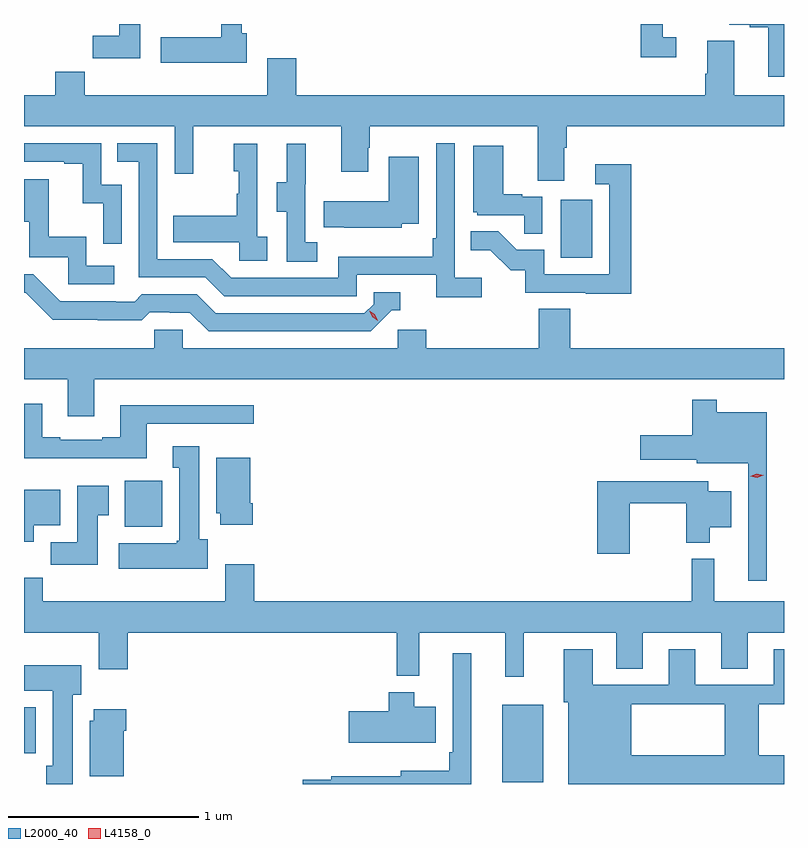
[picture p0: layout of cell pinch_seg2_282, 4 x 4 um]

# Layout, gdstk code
import gdstk
lib = gdstk.Library(unit=1e-6, precision=1e-09)
def R(c, l, rs):  # rectangles x0, y0, x1, y1
    for r in rs: c.add(gdstk.rectangle(r[:2], r[2:], *l))
def P(c, l, *ps):  # polygons
    for p in ps: c.add(gdstk.Polygon(p, *l))
L2000_40 = (2000, 40)
L4158_0 = (4158, 0)

pinch_seg2_282 = lib.new_cell('pinch_seg2_282')
R(pinch_seg2_282, L2000_40, [(900.317,640.187,900.532,640.597), (897.8,640.34,897.862,640.582), (898.331,641.534,898.528,641.776), (900.626,642.948,900.79,643.255)])
P(pinch_seg2_282, L2000_40, [(898.411,644.179),(898.301,644.179),(898.301,644.116),(898.162,644.116),(898.162,643.998),(898.411,643.998)],
  [(898.972,644.13),(898.945,644.13),(898.945,644.179),(898.838,644.179),(898.838,644.11),(898.521,644.11),(898.521,643.976),(898.972,643.976)],
  [(901.8,644.179),(901.512,644.179),(901.512,644.175),(901.619,644.175),(901.619,644.163),(901.718,644.163),(901.718,643.902),(901.8,643.902)],
  [(901.234,644.109),(901.161,644.109),(901.161,644.179),(901.045,644.179),(901.045,644.004),(901.234,644.004)],
  [(900.643,643.528),(900.656,643.528),(900.656,643.64),(901.8,643.64),(901.8,643.804),(901.537,643.804),(901.537,644.09),(901.397,644.09),(901.397,643.916),(901.385,643.916),(901.385,643.804),(899.234,643.804),(899.234,643.999),(899.081,643.999),(899.081,643.804),(898.121,643.804),(898.121,643.928),(897.965,643.928),(897.965,643.804),(897.8,643.804),(897.8,643.64),(898.593,643.64),(898.593,643.392),(898.691,643.392),(898.691,643.64),(899.471,643.64),(899.471,643.401),(899.611,643.401),(899.611,643.529),(899.619,643.529),(899.619,643.64),(900.503,643.64),(900.503,643.354),(900.643,643.354)],
  [(900.208,642.844),(900.066,642.844),(900.066,643.552),(899.97,643.552),(899.97,643.051),(899.95,643.051),(899.95,642.955),(899.454,642.955),(899.454,642.843),(898.89,642.843),(898.791,642.942),(898.5,642.942),(898.5,643.551),(898.291,643.551),(898.291,643.455),(898.404,643.455),(898.404,642.846),(898.754,642.846),(898.853,642.747),(899.55,642.747),(899.55,642.858),(899.969,642.858),(899.969,642.742),(900.208,642.742)],
  [(898.314,643.332),(898.206,643.332),(898.206,643.551),(897.8,643.551),(897.8,643.455),(898.013,643.455),(898.013,643.443),(898.109,643.443),(898.109,643.235),(898.218,643.235),(898.218,643.023),(898.314,643.023)],
  [(899.08,643.058),(899.028,643.058),(899.028,643.549),(898.904,643.549),(898.904,643.404),(898.93,643.404),(898.93,643.286),(898.92,643.286),(898.92,643.171),(898.585,643.171),(898.585,643.031),(898.932,643.031),(898.932,642.933),(899.08,642.933)],
  [(899.344,643.031),(899.28,643.031),(899.28,643.335),(899.282,643.335),(899.282,643.549),(899.183,643.549),(899.183,643.347),(899.129,643.347),(899.129,643.192),(899.184,643.192),(899.184,642.928),(899.344,642.928)],
  [(900.528,643.269),(900.422,643.269),(900.422,643.282),(900.322,643.282),(900.322,643.537),(900.164,643.537),(900.164,643.188),(900.186,643.188),(900.186,643.173),(900.433,643.173),(900.433,643.075),(900.528,643.075)],
  [(899.787,643.127),(899.878,643.127),(899.878,643.48),(899.72,643.48),(899.72,643.246),(899.377,643.246),(899.377,643.109),(899.485,643.109),(899.485,643.106),(899.787,643.106)],
  [(900.995,643.441),(900.807,643.441),(900.807,643.335),(900.879,643.335),(900.879,642.861),(900.537,642.861),(900.537,642.99),(900.393,642.99),(900.295,643.088),(900.151,643.088),(900.151,642.989),(900.255,642.989),(900.362,642.882),(900.439,642.882),(900.439,642.765),(900.757,642.765),(900.757,642.76),(900.995,642.76)],
  [(898.276,642.906),(898.128,642.906),(898.128,643.06),(897.929,643.06),(897.929,643.363),(897.8,643.363),(897.8,643.137),(897.827,643.137),(897.827,642.951),(898.032,642.951),(898.032,642.81),(898.276,642.81)],
  [(899.736,642.672),(899.779,642.672),(899.779,642.768),(899.64,642.768),(899.64,642.705),(899.592,642.657),(898.809,642.657),(898.71,642.756),(898.421,642.756),(898.382,642.717),(898.283,642.717),(898.283,642.72),(897.99,642.72),(897.849,642.861),(897.8,642.861),(897.8,642.765),(897.81,642.765),(897.952,642.623),(898.188,642.623),(898.188,642.621),(898.421,642.621),(898.463,642.663),(898.566,642.663),(898.566,642.66),(898.673,642.66),(898.772,642.561),(899.625,642.561)],
  [(898.171,642.308),(901.8,642.308),(901.8,642.472),(900.674,642.472),(900.674,642.68),(900.509,642.68),(900.509,642.472),(899.918,642.472),(899.918,642.57),(899.766,642.57),(899.766,642.472),(898.635,642.472),(898.635,642.57),(898.485,642.57),(898.485,642.472),(897.8,642.472),(897.8,642.308),(898.031,642.308),(898.031,642.114),(898.171,642.114)],
  [(901.708,642.136),(901.447,642.136),(901.447,642.202),(901.318,642.202),(901.318,642.015),(901.044,642.015),(901.044,641.885),(901.341,641.885),(901.341,641.867),(901.611,641.867),(901.611,641.25),(901.708,641.25)],
  [(898.447,642.075),(899.008,642.075),(899.008,642.172),(898.307,642.172),(898.307,642.004),(898.211,642.004),(898.211,641.991),(897.991,641.991),(897.991,642.004),(897.895,642.004),(897.895,642.181),(897.8,642.181),(897.8,641.894),(898.447,641.894)],
  [(898.768,641.466),(898.723,641.466),(898.723,641.956),(898.583,641.956),(898.583,641.843),(898.616,641.843),(898.616,641.46),(898.603,641.46),(898.603,641.446),(898.299,641.446),(898.299,641.312),(898.768,641.312)],
  [(899.003,641.656),(898.99,641.656),(898.99,641.896),(898.811,641.896),(898.811,641.604),(898.832,641.604),(898.832,641.544),(899.003,641.544)],
  [(900.988,641.656),(901.286,641.656),(901.286,641.45),(901.408,641.45),(901.408,641.531),(901.522,641.531),(901.522,641.719),(901.402,641.719),(901.402,641.772),(900.818,641.772),(900.818,641.391),(900.988,641.391)],
  [(898.189,641.593),(898.246,641.593),(898.246,641.749),(898.079,641.749),(898.079,641.452),(897.94,641.452),(897.94,641.334),(898.189,641.334)],
  [(897.85,641.54),(897.991,641.54),(897.991,641.728),(897.8,641.728),(897.8,641.453),(897.85,641.453)],
  [(900.431,640.976),(900.917,640.976),(900.917,640.786),(901.057,640.786),(901.057,640.976),(901.469,640.976),(901.469,640.786),(901.609,640.786),(901.609,640.976),(901.8,640.976),(901.8,641.14),(901.433,641.14),(901.433,641.365),(901.315,641.365),(901.315,641.14),(899.012,641.14),(899.012,641.335),(898.859,641.335),(898.859,641.14),(897.899,641.14),(897.899,641.264),(897.8,641.264),(897.8,640.976),(898.193,640.976),(898.193,640.782),(898.346,640.782),(898.346,640.976),(899.761,640.976),(899.761,640.748),(899.879,640.748),(899.879,640.976),(900.332,640.976),(900.332,640.743),(900.431,640.743)],
  [(901.8,640.179),(901.8,640.33),(901.667,640.33),(901.667,640.6),(901.8,640.6),(901.8,640.888),(901.745,640.888),(901.745,640.701),(901.333,640.701),(901.333,640.888),(901.193,640.888),(901.193,640.701),(900.793,640.701),(900.793,640.888),(900.641,640.888),(900.641,640.608),(900.665,640.608),(900.665,640.33),(900.997,640.33),(900.997,640.6),(901.489,640.6),(901.489,640.33),(900.997,640.33),(900.665,640.33),(900.665,640.179)],
  [(900.154,640.867),(900.057,640.867),(900.057,640.345),(900.037,640.345),(900.037,640.249),(899.783,640.249),(899.783,640.219),(899.417,640.219),(899.417,640.202),(899.268,640.202),(899.268,640.179),(900.154,640.179)],
  [(898.057,640.65),(898.102,640.65),(898.102,640.804),(897.8,640.804),(897.8,640.67),(897.95,640.67),(897.95,640.274),(897.917,640.274),(897.917,640.179),(898.057,640.179)],
  [(899.968,640.585),(899.854,640.585),(899.854,640.663),(899.72,640.663),(899.72,640.563),(899.508,640.563),(899.508,640.397),(899.968,640.397)],
  [(898.324,640.46),(898.337,640.46),(898.337,640.573),(898.166,640.573),(898.166,640.512),(898.145,640.512),(898.145,640.22),(898.324,640.22)])
P(pinch_seg2_282, L4158_0, [(901.658,641.792),(901.622,641.8),(901.621,641.8),(901.622,641.8),(901.656,641.812),(901.692,641.805),(901.693,641.805),(901.692,641.805)],
  [(899.662,642.618),(899.632,642.638),(899.616,642.671),(899.616,642.671),(899.616,642.671),(899.647,642.651),(899.663,642.619),(899.663,642.618)])

lib.write_gds('pinch_seg2_282.gds')
